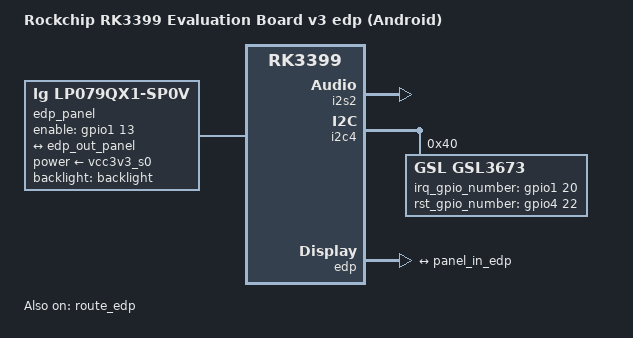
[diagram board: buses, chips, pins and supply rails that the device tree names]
// SPDX-License-Identifier: (GPL-2.0+ OR MIT)
/*
 * Copyright (c) 2022 Rockchip Electronics Co., Ltd.
 *
 */

/dts-v1/;

#include "rk3399-evb-rev3.dtsi"
#include "rk3399-android.dtsi"

/ {
	model = "Rockchip RK3399 Evaluation Board v3 edp (Android)";
	compatible = "rockchip,android", "rockchip,rk3399-evb-rev3", "rockchip,rk3399";

	edp_panel: edp-panel {
		compatible = "lg,lp079qx1-sp0v", "panel-simple";
		backlight = <&backlight>;
		power-supply = <&vcc3v3_s0>;
		enable-gpios = <&gpio1 13 GPIO_ACTIVE_HIGH>;

		ports {
			panel_in_edp: endpoint {
				remote-endpoint = <&edp_out_panel>;
			};
		};
	};
};

&i2s2 {
	status = "okay";
};

&gt9xx {
	status = "disabled";
};

&i2c4 {
	gsl3673: gsl3673@40 {
		compatible = "GSL,GSL3673";
		reg = <0x40>;
		screen_max_x = <1536>;
		screen_max_y = <2048>;
		irq_gpio_number = <&gpio1 20 IRQ_TYPE_LEVEL_LOW>;
		rst_gpio_number = <&gpio4 22 GPIO_ACTIVE_HIGH>;
	};
};

&edp {
	force-hpd;
	status = "okay";

	ports {
		edp_out: port@1 {
			reg = <1>;
			#address-cells = <1>;
			#size-cells = <0>;

			edp_out_panel: endpoint@0 {
				reg = <0>;
				remote-endpoint = <&panel_in_edp>;
			};
		};
	};
};

&route_edp {
	status = "okay";
};

&firmware_android {
	compatible = "android,firmware";
	fstab {
		compatible = "android,fstab";
		system {
			compatible = "android,system";
			dev = "/dev/block/by-name/system";
			type = "ext4";
			mnt_flags = "ro,barrier=1,inode_readahead_blks=8";
			fsmgr_flags = "wait,verify";
		};
		vendor {
			compatible = "android,vendor";
			dev = "/dev/block/by-name/vendor";
			type = "ext4";
			mnt_flags = "ro,barrier=1,inode_readahead_blks=8";
			fsmgr_flags = "wait,verify";
		};
	};
};
